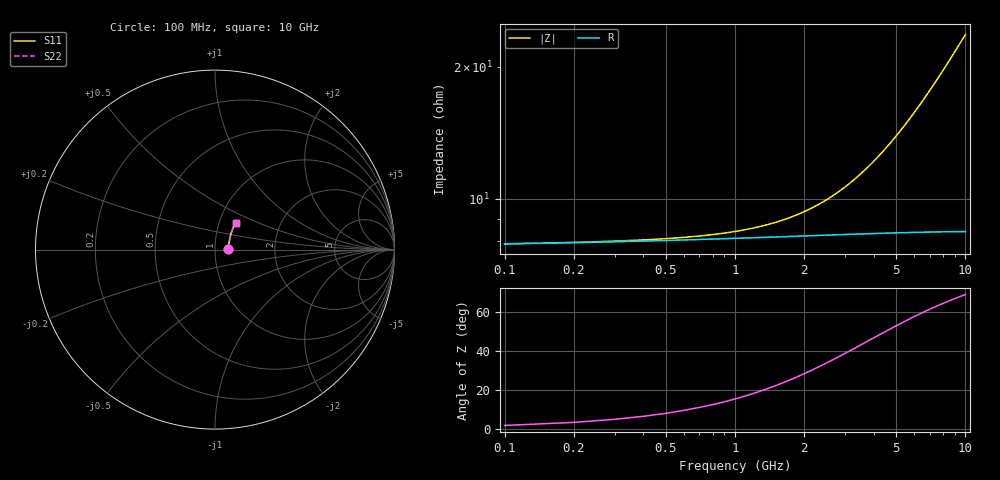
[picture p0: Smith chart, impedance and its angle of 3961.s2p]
# Hz S RI R 50.00
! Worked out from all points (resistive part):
!   100 points, 100 MHz to 10 GHz, reference 50 ohm
!   read as one part in series: R = 7.89 ohm at 100 MHz
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1e8  0.0731 0.0016  0.9269 -0.00221  0.9269 -0.00221  0.0731 0.0016
2e8  0.0736 0.0032  0.9264 -0.00442  0.9264 -0.00442  0.0736 0.0032
7e8  0.0749 0.0112  0.9251 -0.0154  0.9251 -0.0154  0.0749 0.0112
1e9  0.0755 0.0159  0.9245 -0.022  0.9245 -0.022  0.0755 0.0159
1.2e9  0.0759 0.0191  0.924 -0.0264  0.924 -0.0264  0.0759 0.0191
1.4e9  0.0763 0.0223  0.9236 -0.0308  0.9236 -0.0308  0.0763 0.0223
1.6e9  0.0767 0.0254  0.9232 -0.0352  0.9232 -0.0352  0.0767 0.0254
1.8e9  0.0771 0.0286  0.9228 -0.0395  0.9228 -0.0395  0.0771 0.0286
2.1e9  0.0778 0.0333  0.9221 -0.0461  0.9221 -0.0461  0.0778 0.0333
2.5e9  0.0787 0.0396  0.9211 -0.0548  0.9211 -0.0548  0.0787 0.0396
2.9e9  0.0797 0.0459  0.9201 -0.0635  0.9201 -0.0635  0.0797 0.0459
3.4e9  0.0812 0.0537  0.9186 -0.0743  0.9186 -0.0743  0.0812 0.0537
4.3e9  0.0841 0.0676  0.9155 -0.0937  0.9155 -0.0937  0.0841 0.0676
5.1e9  0.0871 0.0799  0.9123 -0.1109  0.9123 -0.1109  0.0871 0.0799
5.9e9  0.0906 0.092  0.9087 -0.1278  0.9087 -0.1278  0.0906 0.092
6.7e9  0.0945 0.1039  0.9046 -0.1446  0.9046 -0.1446  0.0945 0.1039
7.1e9  0.0966 0.1098  0.9024 -0.153  0.9024 -0.153  0.0966 0.1098
7.5e9  0.0988 0.1156  0.9001 -0.1612  0.9001 -0.1612  0.0988 0.1156
7.9e9  0.1011 0.1214  0.8977 -0.1695  0.8977 -0.1695  0.1011 0.1214
8.4e9  0.1041 0.1286  0.8945 -0.1797  0.8945 -0.1797  0.1041 0.1286
9.2e9  0.1093 0.1399  0.8891 -0.1959  0.8891 -0.1959  0.1093 0.1399
1e10  0.1148 0.1509  0.8832 -0.2118  0.8832 -0.2118  0.1148 0.1509
